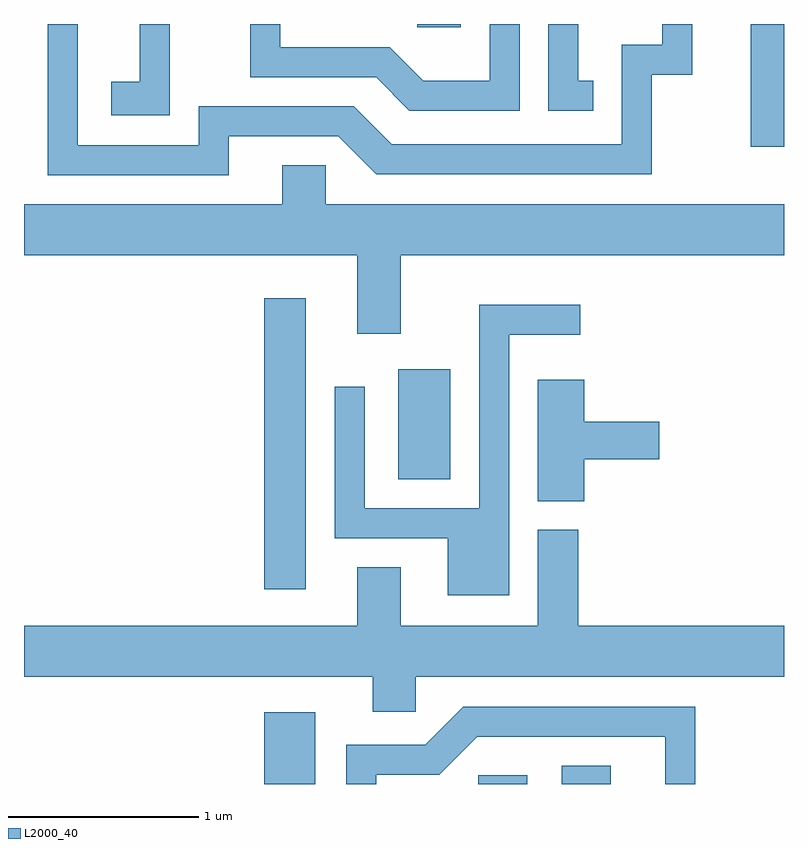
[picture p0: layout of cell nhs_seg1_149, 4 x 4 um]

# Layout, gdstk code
import gdstk
lib = gdstk.Library(unit=1e-6, precision=1e-09)
def R(c, l, rs):  # rectangles x0, y0, x1, y1
    for r in rs: c.add(gdstk.rectangle(r[:2], r[2:], *l))
def P(c, l, *ps):  # polygons
    for p in ps: c.add(gdstk.Polygon(p, *l))
L2000_40 = (2000, 40)

nhs_seg1_149 = lib.new_cell('nhs_seg1_149')
R(nhs_seg1_149, L2000_40, [(190.876,865.712,191.144,866.089), (192.003,865.712,192.259,865.759), (192.441,865.712,192.698,865.809), (190.876,866.736,191.094,868.269), (191.581,867.316,191.854,867.894), (193.436,869.066,193.611,869.712), (191.681,869.696,191.909,869.712)])
P(nhs_seg1_149, L2000_40, [(190.379,869.712),(190.221,869.712),(190.221,869.409),(190.071,869.409),(190.071,869.231),(190.379,869.231)],
  [(190.689,869.121),(191.264,869.121),(191.464,868.921),(192.914,868.921),(192.914,869.446),(193.129,869.446),(193.129,869.712),(192.971,869.712),(192.971,869.604),(192.756,869.604),(192.756,869.079),(191.547,869.079),(191.347,869.279),(190.531,869.279),(190.531,869.074),(189.894,869.074),(189.894,869.712),(189.736,869.712),(189.736,868.916),(190.689,868.916)],
  [(192.608,869.414),(192.529,869.414),(192.529,869.712),(192.371,869.712),(192.371,869.256),(192.608,869.256)],
  [(192.219,869.712),(192.061,869.712),(192.061,869.414),(191.712,869.414),(191.537,869.589),(190.959,869.589),(190.959,869.712),(190.801,869.712),(190.801,869.431),(191.464,869.431),(191.639,869.256),(192.219,869.256)],
  [(191.594,868.496),(193.611,868.496),(193.611,868.764),(191.199,868.764),(191.199,868.969),(190.971,868.969),(190.971,868.764),(189.611,868.764),(189.611,868.496),(191.366,868.496),(191.366,868.081),(191.594,868.081)],
  [(192.164,868.076),(192.538,868.076),(192.538,868.234),(192.006,868.234),(192.006,867.164),(191.404,867.164),(191.404,867.803),(191.246,867.803),(191.246,867.006),(191.841,867.006),(191.841,866.706),(192.164,866.706)],
  [(192.559,867.421),(192.954,867.421),(192.954,867.619),(192.559,867.619),(192.559,867.839),(192.316,867.839),(192.316,867.201),(192.559,867.201)],
  [(191.674,866.276),(193.611,866.276),(193.611,866.544),(192.529,866.544),(192.529,867.049),(192.316,867.049),(192.316,866.544),(191.594,866.544),(191.594,866.854),(191.366,866.854),(191.366,866.544),(189.611,866.544),(189.611,866.276),(191.446,866.276),(191.446,866.091),(191.674,866.091)],
  [(191.464,865.761),(191.797,865.761),(191.997,865.961),(192.986,865.961),(192.986,865.712),(193.144,865.712),(193.144,866.119),(191.924,866.119),(191.724,865.919),(191.306,865.919),(191.306,865.712),(191.464,865.712)])

lib.write_gds('nhs_seg1_149.gds')
